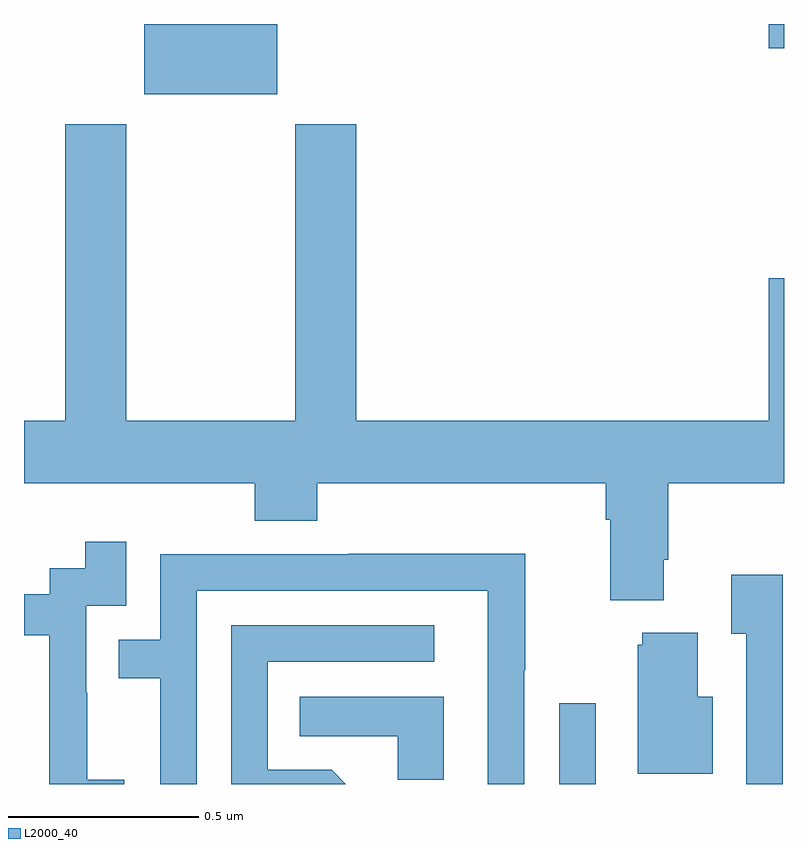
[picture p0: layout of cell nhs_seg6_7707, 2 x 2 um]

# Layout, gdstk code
import gdstk
lib = gdstk.Library(unit=1e-6, precision=1e-09)
def R(c, l, rs):  # rectangles x0, y0, x1, y1
    for r in rs: c.add(gdstk.rectangle(r[:2], r[2:], *l))
def P(c, l, *ps):  # polygons
    for p in ps: c.add(gdstk.Polygon(p, *l))
L2000_40 = (2000, 40)

nhs_seg6_7707 = lib.new_cell('nhs_seg6_7707')
R(nhs_seg6_7707, L2000_40, [(212.409,990.5,212.505,990.712), (211.316,992.315,211.666,992.5), (212.96,992.436,213,992.5)])
P(nhs_seg6_7707, L2000_40, [(212.683,991.09),(212.696,991.09),(212.696,991.292),(213,991.292),(213,991.831),(212.96,991.831),(212.96,991.456),(211.874,991.456),(211.874,992.236),(211.714,992.236),(211.714,991.456),(211.269,991.456),(211.269,992.236),(211.109,992.236),(211.109,991.456),(211,991.456),(211,991.292),(211.607,991.292),(211.607,991.193),(211.772,991.193),(211.772,991.292),(212.531,991.292),(212.531,991.196),(212.543,991.196),(212.543,990.983),(212.683,990.983)],
  [(211.264,990.511),(211.166,990.511),(211.166,990.74),(211.164,990.74),(211.164,990.969),(211.269,990.969),(211.269,991.138),(211.161,991.138),(211.161,991.068),(211.068,991.068),(211.068,990.999),(211,990.999),(211,990.891),(211.067,990.891),(211.067,990.607),(211.066,990.607),(211.066,990.5),(211.264,990.5)],
  [(211.455,991.008),(212.22,991.008),(212.22,990.5),(212.316,990.5),(212.316,990.799),(212.319,990.799),(212.319,991.106),(211.855,991.106),(211.855,991.104),(211.359,991.104),(211.359,990.879),(211.249,990.879),(211.249,990.778),(211.359,990.778),(211.359,990.5),(211.455,990.5)],
  [(212.997,991.051),(212.861,991.051),(212.861,990.895),(212.901,990.895),(212.901,990.5),(212.997,990.5)],
  [(211.81,990.537),(211.641,990.537),(211.641,990.822),(212.08,990.822),(212.08,990.918),(211.545,990.918),(211.545,990.5),(211.847,990.5)],
  [(212.812,990.73),(212.773,990.73),(212.773,990.898),(212.627,990.898),(212.627,990.867),(212.615,990.867),(212.615,990.527),(212.812,990.527)],
  [(212.104,990.73),(211.726,990.73),(211.726,990.626),(211.983,990.626),(211.983,990.511),(212.104,990.511)])

lib.write_gds('nhs_seg6_7707.gds')
